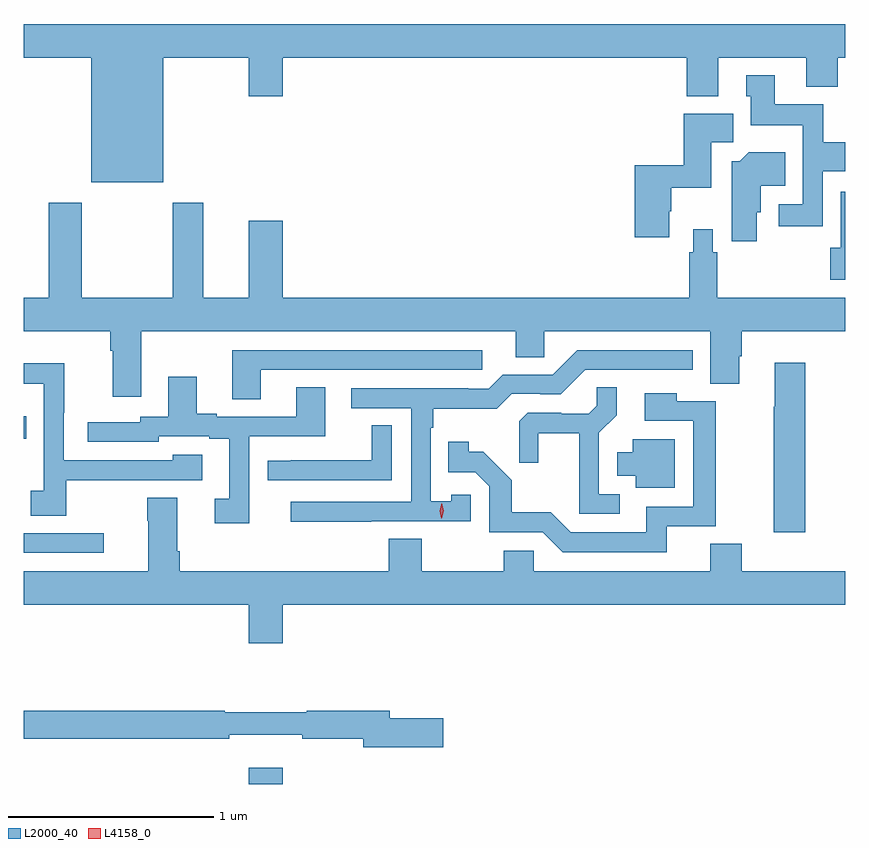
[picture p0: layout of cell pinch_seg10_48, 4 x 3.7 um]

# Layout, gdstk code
import gdstk
lib = gdstk.Library(unit=1e-6, precision=1e-09)
def R(c, l, rs):  # rectangles x0, y0, x1, y1
    for r in rs: c.add(gdstk.rectangle(r[:2], r[2:], *l))
def P(c, l, *ps):  # polygons
    for p in ps: c.add(gdstk.Polygon(p, *l))
L2000_40 = (2000, 40)
L4158_0 = (4158, 0)

pinch_seg10_48 = lib.new_cell('pinch_seg10_48')
R(pinch_seg10_48, L2000_40, [(860.312,1300.775,860.476,1300.855), (859.216,1301.901,859.606,1301.997), (859.216,1302.456,859.229,1302.565)])
P(pinch_seg10_48, L2000_40, [(859.216,1304.312),(859.544,1304.312),(859.544,1303.706),(859.894,1303.706),(859.894,1304.312),(860.312,1304.312),(860.312,1304.124),(860.476,1304.124),(860.476,1304.312),(862.445,1304.312),(862.445,1304.123),(862.597,1304.123),(862.597,1304.312),(863.027,1304.312),(863.027,1304.171),(863.18,1304.171),(863.18,1304.312),(863.216,1304.312),(863.216,1304.476),(859.216,1304.476)],
  [(863.106,1303.76),(863.216,1303.76),(863.216,1303.9),(863.109,1303.9),(863.109,1304.086),(862.873,1304.086),(862.873,1304.227),(862.733,1304.227),(862.733,1304.124),(862.757,1304.124),(862.757,1303.982),(863.01,1303.982),(863.01,1303.599),(862.893,1303.599),(862.893,1303.491),(863.106,1303.491)],
  [(862.36,1303.564),(862.368,1303.564),(862.368,1303.679),(862.564,1303.679),(862.564,1303.899),(862.672,1303.899),(862.672,1304.038),(862.43,1304.038),(862.43,1303.789),(862.19,1303.789),(862.19,1303.437),(862.36,1303.437)],
  [(862.786,1303.56),(862.804,1303.56),(862.804,1303.688),(862.925,1303.688),(862.925,1303.852),(862.747,1303.852),(862.702,1303.807),(862.664,1303.807),(862.664,1303.419),(862.786,1303.419)],
  [(863.216,1303.66),(863.195,1303.66),(863.195,1303.386),(863.144,1303.386),(863.144,1303.23),(863.216,1303.23)],
  [(859.789,1302.98),(861.611,1302.98),(861.611,1302.853),(861.75,1302.853),(861.75,1302.98),(862.559,1302.98),(862.559,1302.724),(862.699,1302.724),(862.699,1302.858),(862.712,1302.858),(862.712,1302.98),(863.216,1302.98),(863.216,1303.144),(862.592,1303.144),(862.592,1303.364),(862.572,1303.364),(862.572,1303.477),(862.476,1303.477),(862.476,1303.364),(862.456,1303.364),(862.456,1303.144),(860.476,1303.144),(860.476,1303.519),(860.312,1303.519),(860.312,1303.144),(860.089,1303.144),(860.089,1303.606),(859.942,1303.606),(859.942,1303.144),(859.497,1303.144),(859.497,1303.606),(859.337,1303.606),(859.337,1303.144),(859.216,1303.144),(859.216,1302.98),(859.637,1302.98),(859.637,1302.884),(859.649,1302.884),(859.649,1302.66),(859.789,1302.66)],
  [(860.909,1302.054),(861.393,1302.054),(861.393,1302.183),(861.297,1302.183),(861.297,1302.151),(861.198,1302.151),(861.198,1302.509),(861.211,1302.509),(861.211,1302.602),(861.518,1302.602),(861.591,1302.675),(861.73,1302.675),(861.73,1302.672),(861.831,1302.672),(861.951,1302.792),(862.474,1302.792),(862.474,1302.888),(861.912,1302.888),(861.792,1302.768),(861.549,1302.768),(861.48,1302.699),(861.38,1302.699),(861.38,1302.702),(860.811,1302.702),(860.811,1302.606),(861.102,1302.606),(861.102,1302.15),(860.517,1302.15),(860.517,1302.052),(860.909,1302.052)],
  [(860.371,1302.792),(861.448,1302.792),(861.448,1302.888),(860.231,1302.888),(860.231,1302.649),(860.371,1302.649)],
  [(863.021,1302.826),(862.874,1302.826),(862.874,1302.613),(862.867,1302.613),(862.867,1302),(863.021,1302)],
  [(859.423,1302.253),(859.727,1302.253),(859.727,1302.255),(860.086,1302.255),(860.086,1302.379),(859.941,1302.379),(859.941,1302.351),(859.41,1302.351),(859.41,1302.584),(859.413,1302.584),(859.413,1302.823),(859.216,1302.823),(859.216,1302.725),(859.314,1302.725),(859.314,1302.204),(859.251,1302.204),(859.251,1302.082),(859.423,1302.082)],
  [(860.313,1302.468),(860.683,1302.468),(860.683,1302.707),(860.543,1302.707),(860.543,1302.564),(860.155,1302.564),(860.155,1302.577),(860.059,1302.577),(860.059,1302.757),(859.919,1302.757),(859.919,1302.564),(859.782,1302.564),(859.782,1302.537),(859.527,1302.537),(859.527,1302.441),(859.872,1302.441),(859.872,1302.468),(860.12,1302.468),(860.12,1302.456),(860.216,1302.456),(860.216,1302.165),(860.145,1302.165),(860.145,1302.045),(860.313,1302.045)],
  [(862.117,1302.186),(862.017,1302.186),(862.017,1302.485),(862.103,1302.571),(862.103,1302.707),(862.005,1302.707),(862.005,1302.616),(861.968,1302.579),(861.834,1302.579),(861.834,1302.582),(861.669,1302.582),(861.628,1302.541),(861.628,1302.339),(861.722,1302.339),(861.722,1302.482),(861.92,1302.482),(861.92,1302.09),(862.117,1302.09)],
  [(862.346,1302.03),(862.585,1302.03),(862.585,1302.639),(862.395,1302.639),(862.395,1302.679),(862.239,1302.679),(862.239,1302.543),(862.476,1302.543),(862.476,1302.126),(862.247,1302.126),(862.247,1302),(861.879,1302),(861.781,1302.099),(861.592,1302.099),(861.592,1302.254),(861.454,1302.392),(861.384,1302.392),(861.384,1302.442),(861.283,1302.442),(861.283,1302.294),(861.414,1302.294),(861.483,1302.225),(861.483,1302),(861.744,1302),(861.84,1301.904),(862.346,1301.904)],
  [(861.009,1302.521),(860.911,1302.521),(860.911,1302.351),(860.515,1302.351),(860.515,1302.35),(860.403,1302.35),(860.403,1302.255),(861.009,1302.255)],
  [(862.387,1302.454),(862.181,1302.454),(862.181,1302.391),(862.106,1302.391),(862.106,1302.275),(862.196,1302.275),(862.196,1302.218),(862.387,1302.218)],
  [(860.476,1301.648),(863.216,1301.648),(863.216,1301.812),(862.712,1301.812),(862.712,1301.945),(862.559,1301.945),(862.559,1301.812),(861.699,1301.812),(861.699,1301.91),(861.553,1301.91),(861.553,1301.812),(861.153,1301.812),(861.153,1301.969),(860.993,1301.969),(860.993,1301.812),(859.976,1301.812),(859.976,1301.908),(859.963,1301.908),(859.963,1302.169),(859.816,1302.169),(859.816,1302.056),(859.823,1302.056),(859.823,1301.812),(859.216,1301.812),(859.216,1301.648),(860.312,1301.648),(860.312,1301.46),(860.476,1301.46)],
  [(861.259,1301.096),(860.998,1301.096),(860.998,1301.132),(860.594,1301.132),(860.594,1301.125),(860.194,1301.125),(860.194,1301.132),(859.216,1301.132),(859.216,1300.996),(860.216,1300.996),(860.216,1301.015),(860.572,1301.015),(860.572,1300.996),(860.87,1300.996),(860.87,1300.954),(861.259,1300.954)])
P(pinch_seg10_48, L4158_0, [(861.25,1302.069),(861.241,1302.105),(861.251,1302.141),(861.252,1302.141),(861.252,1302.141),(861.261,1302.105),(861.251,1302.069),(861.251,1302.069)])

lib.write_gds('pinch_seg10_48.gds')
